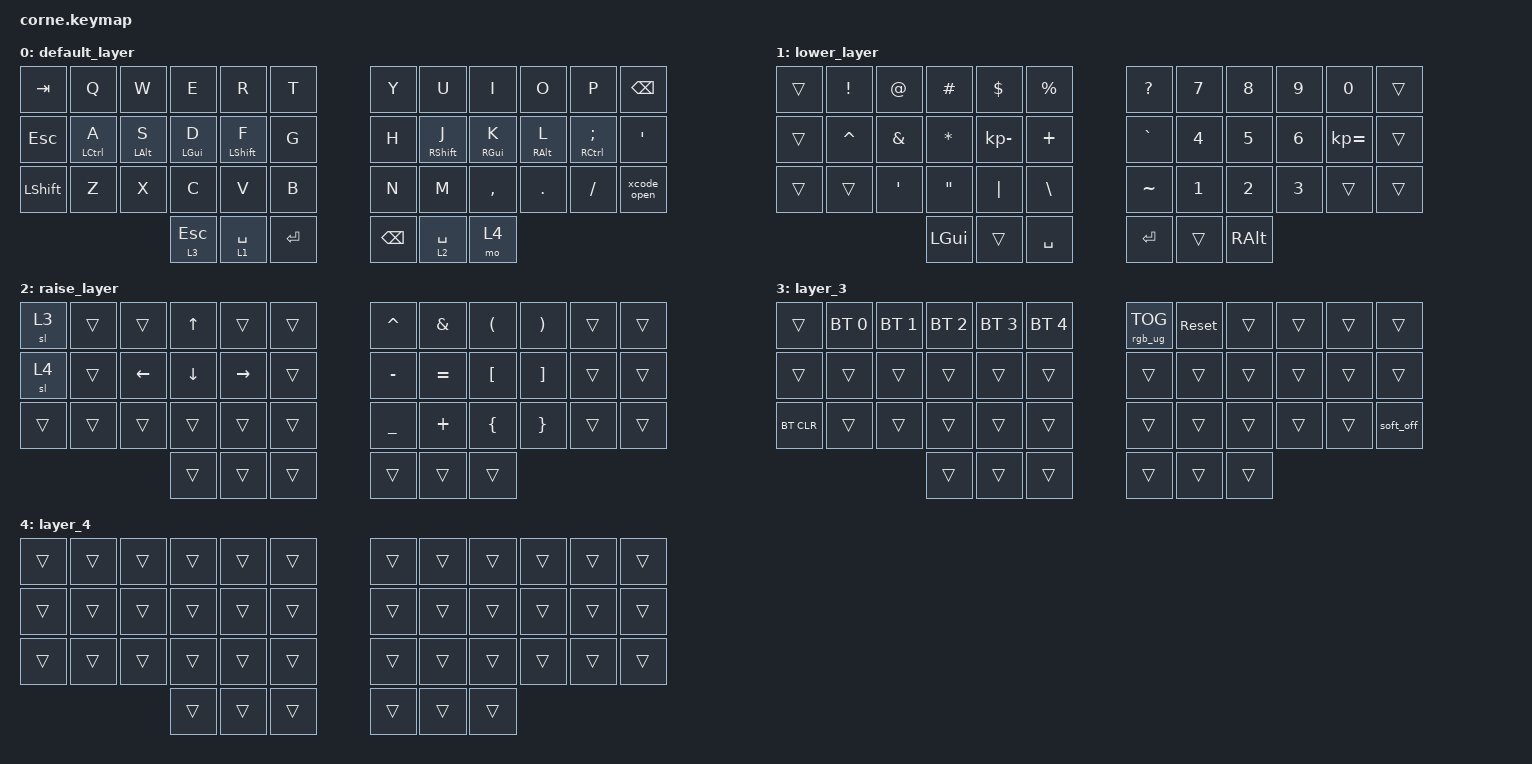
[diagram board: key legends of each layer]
/*
 * Copyright (c) 2020 The ZMK Contributors
 *
 * SPDX-License-Identifier: MIT
 */

#include <behaviors.dtsi>
#include <dt-bindings/zmk/bt.h>
#include <dt-bindings/zmk/keys.h>
#include <dt-bindings/zmk/rgb.h>

&led_strip { chain-length = <27>; };

/ {
    macros {
        xcode_open: xcode_open {
            compatible = "zmk,behavior-macro";
            #binding-cells = <0>;
            bindings = <&kp LS(LG(O))>;
            label = "XCODE_OPEN";
        };
    };

    behaviors {
        ht_b: ht_b {
            compatible = "zmk,behavior-hold-tap";
            label = "HT_B";
            bindings = <&kp>, <&kp>;

            #binding-cells = <2>;
            tapping-term-ms = <200>;
            quick-tap-ms = <0>;
            flavor = "balanced";
        };
    };

    keymap {
        compatible = "zmk,keymap";

        default_layer {
            // -----------------------------------------------------------------------------------------
            // |  TAB |  Q  |  W  |  E  |  R  |  T  |   |  Y  |  U   |  I  |  O  |  P  | BKSP |
            // | CTRL |  A  |  S  |  D  |  F  |  G  |   |  H  |  J   |  K  |  L  |  ;  |  '   |
            // | SHFT |  Z  |  X  |  C  |  V  |  B  |   |  N  |  M   |  ,  |  .  |  /  | SHFT |
            //                    | GUI | LWR | ENT |   | SPC | RSE  | ALT |

            bindings = <
&kp TAB     &kp Q                 &kp W             &kp E             &kp R               &kp T      &kp Y          &kp U                &kp I              &kp O              &kp P                     &kp BSPC
&kp ESCAPE  &ht_b LEFT_CONTROL A  &ht_b LEFT_ALT S  &ht_b LEFT_GUI D  &ht_b LEFT_SHIFT F  &kp G      &kp H          &ht_b RIGHT_SHIFT J  &ht_b RIGHT_GUI K  &ht_b RIGHT_ALT L  &ht_b RIGHT_CONTROL SEMI  &kp SQT
&kp LSHFT   &kp Z                 &kp X             &kp C             &kp V               &kp B      &kp N          &kp M                &kp COMMA          &kp DOT            &kp FSLH                  &xcode_open
                                                    &lt 3 ESCAPE      &lt 1 SPACE         &kp RET    &kp BACKSPACE  &lt 2 SPACE          &mo 4
            >;
        };

        lower_layer {
            // -----------------------------------------------------------------------------------------
            // |  TAB |  1    |  2  |  3  |  4  |  5  |   |  6  |  7  |  8  |  9  |  0  | BKSP |
            // | LCTRL| BTCLR | BT0 | BT1 | BT2 | BT3 |   | LFT | DWN |  UP | RGT |     |      |
            // | ESC  |       | HOME| PGUP| PGDN| END |   |     |     |     |     |     |      |
            //                      | GUI |     | SPC |   | ENT |     | ALT |

            bindings = <
&trans  &kp EXCLAMATION  &kp AT          &kp POUND          &kp DOLLAR    &kp PERCENT      &kp QUESTION  &kp N7        &kp N8        &kp N9        &kp N0        &trans
&trans  &kp CARET        &kp AMPERSAND   &kp ASTERISK       &kp KP_MINUS  &kp PLUS         &kp GRAVE     &kp NUMBER_4  &kp NUMBER_5  &kp NUMBER_6  &kp KP_EQUAL  &trans
&trans  &trans           &kp APOSTROPHE  &kp DOUBLE_QUOTES  &kp PIPE      &kp BACKSLASH    &kp TILDE     &kp NUMBER_1  &kp NUMBER_2  &kp NUMBER_3  &trans        &trans
                                         &kp LGUI           &trans        &kp SPACE        &kp RET       &trans        &kp RALT
            >;
        };

        raise_layer {
            // -----------------------------------------------------------------------------------------
            // |  TAB |   !   |   @   |   #   |   $   |   %   |   |  ^  |  &  |  *  |  (  |  )  | BKSP |
            // | CTRL |RGB_TOG|RGB_HUI|RGB_SAI|RGB_VAI|       |   |  -  |  =  |  [  |  ]  |  \  |  `   |
            // | SHFT |RGB_MOD|RGB_HUD|RGB_SAD|RGB_VAD|QK_BOOT|   |  _  |  +  |  {  |  }  | "|" |  ~   |
            //                            | GUI |     |  SPC  |   | ENT |     | ALT |

            bindings = <
&sl 3   &trans  &trans    &kp UP_ARROW  &trans     &trans    &kp CARET       &kp AMPS   &kp LEFT_PARENTHESIS  &kp RIGHT_PARENTHESIS  &trans  &trans
&sl 4   &trans  &kp LEFT  &kp DOWN      &kp RIGHT  &trans    &kp MINUS       &kp EQUAL  &kp LBKT              &kp RBKT               &trans  &trans
&trans  &trans  &trans    &trans        &trans     &trans    &kp UNDERSCORE  &kp PLUS   &kp LBRC              &kp RBRC               &trans  &trans
                          &trans        &trans     &trans    &trans          &trans     &trans
            >;
        };

        layer_3 {
            bindings = <
&trans      &bt BT_SEL 0  &bt BT_SEL 1  &bt BT_SEL 2  &bt BT_SEL 3  &bt BT_SEL 4    &rgb_ug RGB_TOG  &sys_reset  &trans  &trans  &trans  &trans
&trans      &trans        &trans        &trans        &trans        &trans          &trans           &trans      &trans  &trans  &trans  &trans
&bt BT_CLR  &trans        &trans        &trans        &trans        &trans          &trans           &trans      &trans  &trans  &trans  &soft_off
                                        &trans        &trans        &trans          &trans           &trans      &trans
            >;
        };

        layer_4 {
            bindings = <
&trans  &trans  &trans  &trans  &trans  &trans    &trans  &trans  &trans  &trans  &trans  &trans
&trans  &trans  &trans  &trans  &trans  &trans    &trans  &trans  &trans  &trans  &trans  &trans
&trans  &trans  &trans  &trans  &trans  &trans    &trans  &trans  &trans  &trans  &trans  &trans
                        &trans  &trans  &trans    &trans  &trans  &trans
            >;
        };
    };
};
